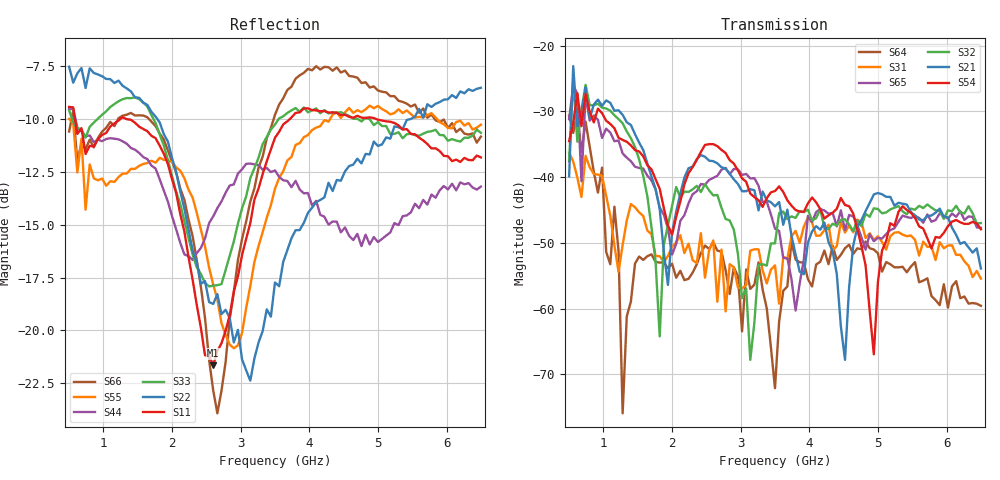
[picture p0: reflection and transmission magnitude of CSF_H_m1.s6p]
!Keysight Technologies,M9804A,MY58100912,A.14.10.03
!Date: Thursday, April 27, 2023 10:28:33
!Correction: S11(C  6-Port  )
!S12(C  6-Port  )
!S13(C  6-Port  )
!S14(C  6-Port  )
!S15(C  6-Port  )
!S16(C  6-Port  )
!S21(C  6-Port  )
!S22(C  6-Port  )
!S23(C  6-Port  )
!S24(C  6-Port  )
!S25(C  6-Port  )
!S26(C  6-Port  )
!S31(C  6-Port  )
!S32(C  6-Port  )
!S33(C  6-Port  )
!S34(C  6-Port  )
!S35(C  6-Port  )
!S36(C  6-Port  )
!S41(C  6-Port  )
!S42(C  6-Port  )
!S43(C  6-Port  )
!S44(C  6-Port  )
!S45(C  6-Port  )
!S46(C  6-Port  )
!S51(C  6-Port  )
!S52(C  6-Port  )
!S53(C  6-Port  )
!S54(C  6-Port  )
!S55(C  6-Port  )
!S56(C  6-Port  )
!S61(C  6-Port  )
!S62(C  6-Port  )
!S63(C  6-Port  )
!S64(C  6-Port  )
!S65(C  6-Port  )
!S66(C  6-Port  )
!S6P File: Measurement: :
# Hz S  RI  R 50
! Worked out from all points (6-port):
!   101 points, 500 MHz to 6.5 GHz, reference 50 ohm
!   strongest paths, dB at 500 MHz, 2 GHz, 3.5 GHz, 5 GHz, 6.5 GHz:
!     S54: -34.5, -48.8, -42.1, -55.9, -47.9
!     S21: -39.9, -48.5, -44.4, -42.4, -53.9
!     S32: -37.6, -44.4, -50.1, -44.8, -47.0
!     S65: -31.2, -51.8, -47.8, -49.2, -47.7
!     S31: -36.2, -50.6, -53.4, -49.0, -55.4
!     S64: -30.6, -53.2, -72.1, -51.6, -59.6
!   lowest |S11| = -21.6 dB at 2.6 GHz (marker M1), VSWR 1.18, Z = 42.6 + j2.06 ohm
!   |S11| at or under -10 dB: 586.4 MHz to 1.246 GHz (660.1 MHz wide, 72 % of centre); 1.336 GHz to 3.715 GHz (2.378 GHz wide, 94.2 % of centre); 4.977 GHz to end of sweep
